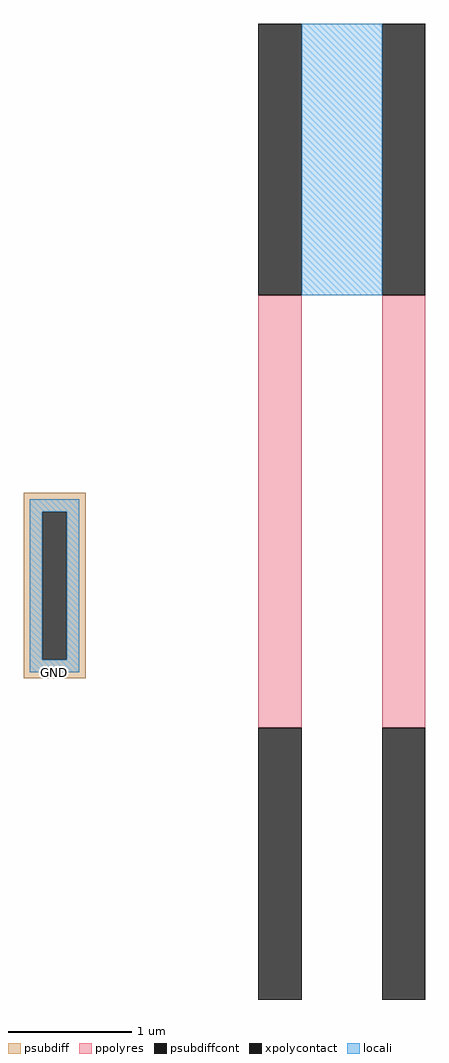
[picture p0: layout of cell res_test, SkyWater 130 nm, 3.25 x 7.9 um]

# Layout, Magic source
magic
tech sky130A
<< psubdiff >>
rect 545 1390 595 1405
rect 545 1270 560 1390
rect 580 1270 595 1390
rect 545 1255 595 1270
<< psubdiffcont >>
rect 560 1270 580 1390
<< xpolycontact >>
rect 735 1565 770 1785
rect 735 995 770 1215
rect 835 1565 870 1785
rect 835 995 870 1215
<< ppolyres >>
rect 735 1215 770 1565
rect 835 1215 870 1565
<< locali >>
rect 770 1565 835 1785
rect 550 1390 590 1400
rect 550 1270 560 1390
rect 580 1270 590 1390
rect 550 1260 590 1270
<< labels >>
rlabel locali 570 1260 570 1260 5 GND
<< end >>
